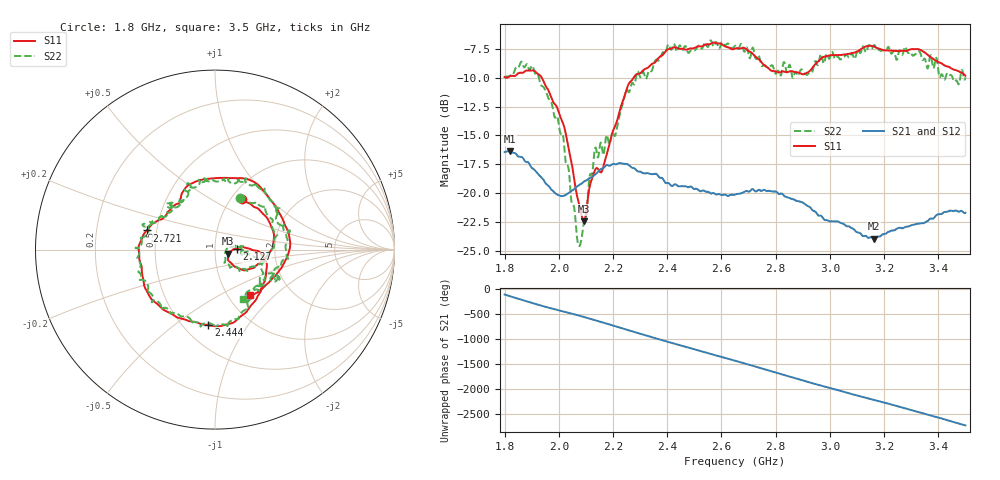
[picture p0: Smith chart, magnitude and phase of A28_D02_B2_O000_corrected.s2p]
! Created with skrf 1.9.0 (http://scikit-rf.org).
# Hz S RI R 50.0
!freq ReS11 ImS11 ReS21 ImS21 ReS12 ImS12 ReS22 ImS22
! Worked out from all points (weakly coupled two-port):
!   1601 points, 1.8 GHz to 3.5 GHz, reference 50 ohm
!   highest |S21| = -16.37 dB at 1.82 GHz (marker M1); lowest = -23.9 dB at 3.162 GHz (marker M2)
!   lowest |S11| = -22.4 dB at 2.092 GHz (marker M3), VSWR 1.16, Z = 57.7 - j2.56 ohm
!   |S11| at or under -10 dB: 1.805223 GHz to 1.808617 GHz (3.395 MHz wide, 0.188 % of centre); 1.937 GHz to 2.276 GHz (339.1 MHz wide, 16.1 % of centre)
!   |S22| runs from -24.6 to -6.8 dB; largest |S21 - S12| = 0.0026
!   S11 on the Smith chart (normalised r, x): 1.8 GHz: 1.12, +0.70; 2.127 GHz: 1.27, +0.01; 2.444 GHz: 0.66, -0.67; 2.721 GHz: 0.44, +0.11; 3.5 GHz: 1.26, -0.72
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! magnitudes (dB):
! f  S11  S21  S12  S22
! 1.8 GHz  -9.9  -16.4  -16.4  -9.9
! 1.82 GHz  -9.9  -16.4  -16.4  -9.8
! 1.902 GHz  -9.4  -17.8  -17.8  -9.0
! 1.968 GHz  -11.4  -19.5  -19.6  -12.0
! 2.021 GHz  -14.4  -20.2  -20.2  -16.2
! 2.07 GHz  -20.5  -19.4  -19.4  -24.3
! 2.084 GHz  -21.9  -19.2  -19.1  -23.9
! 2.092 GHz  -22.4  -19.0  -19.1  -22.6
! 2.127 GHz  -18.4  -18.5  -18.5  -17.4
! 2.162 GHz  -17.9  -17.9  -17.8  -16.5
! 2.209 GHz  -14.1  -17.5  -17.5  -14.9
! 2.259 GHz  -10.5  -17.6  -17.6  -11.3
! 2.367 GHz  -8.3  -18.5  -18.5  -8.5
! 2.444 GHz  -7.5  -19.4  -19.4  -7.3
! 2.65 GHz  -7.5  -20.1  -20.1  -7.2
! 2.721 GHz  -8.1  -19.8  -19.7  -7.9
! 2.812 GHz  -9.5  -20.1  -19.9  -9.4
! 2.934 GHz  -9.2  -21.4  -21.4  -9.6
! 3.162 GHz  -7.3  -23.9  -23.9  -7.2
! 3.217 GHz  -7.7  -23.3  -23.3  -7.4
! 3.329 GHz  -7.5  -22.6  -22.6  -7.7
! 3.5 GHz  -9.8  -21.7  -21.7  -10.0
